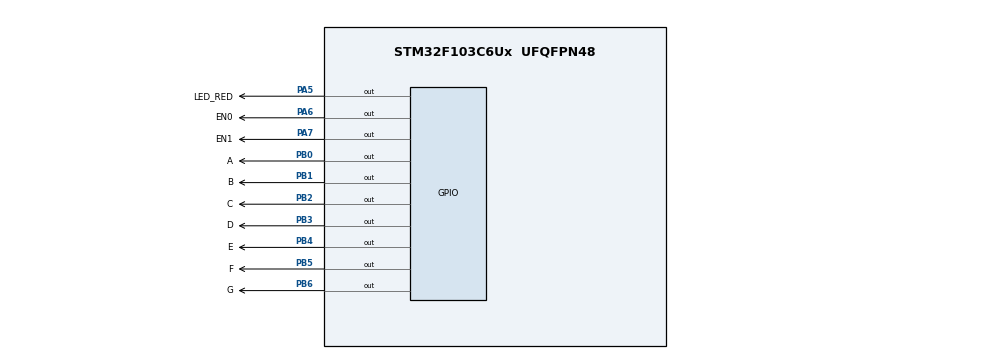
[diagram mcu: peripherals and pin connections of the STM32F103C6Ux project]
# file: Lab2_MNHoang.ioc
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Mcu.Family=STM32F1
Mcu.Name=STM32F103C6Ux
Mcu.Package=UFQFPN48
NVIC.PriorityGroup=NVIC_PRIORITYGROUP_4
NVIC.TIM2_IRQn=true\:0\:0\:false\:false\:true\:true\:true\:true
PA5.GPIO_Label=LED_RED
PA5.Signal=GPIO_Output
PA6.GPIO_Label=EN0
PA6.Signal=GPIO_Output
PA7.GPIO_Label=EN1
PA7.Signal=GPIO_Output
PB0.GPIO_Label=A
PB0.Signal=GPIO_Output
PB1.GPIO_Label=B
PB1.Signal=GPIO_Output
PB2.GPIO_Label=C
PB2.Signal=GPIO_Output
PB3.GPIO_Label=D
PB3.Signal=GPIO_Output
PB4.GPIO_Label=E
PB4.Signal=GPIO_Output
PB5.GPIO_Label=F
PB5.Signal=GPIO_Output
PB6.GPIO_Label=G
PB6.Signal=GPIO_Output
ProjectManager.HeapSize=0x200
ProjectManager.StackSize=0x400
ProjectManager.TargetToolchain=STM32CubeIDE
RCC.APB1Freq_Value=8000000
RCC.APB2Freq_Value=8000000
TIM2.Period=9
TIM2.Prescaler=7999
VP_SYS_VS_ND.Mode=No_Debug
VP_TIM2_VS_ClockSourceINT.Mode=Internal
board=custom

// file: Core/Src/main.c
/* USER CODE BEGIN Header */
/* USER CODE END Header */
#include "main.h"

TIM_HandleTypeDef htim2;

/* USER CODE BEGIN PV */
const int MAX_LED = 4;
int index_led = 0;
int led_buffer[4] = {1, 2, 3, 4}; // LED Status

int flag = 1;
int counter = 0;
int quaterSecondCounter = 0;

int hour = 15, minute = 8, second = 50;

/* USER CODE END PV */

void SystemClock_Config(void);
static void MX_GPIO_Init(void);
static void MX_TIM2_Init(void);
/* USER CODE BEGIN PFP */

void display7SEG(int displayNumber);
void update7SEG(int index);
void updateClockBuffer();
/* USER CODE END PFP */

int main(void)
{

  /* MCU Configuration--------------------------------------------------------*/

  /* Reset of all peripherals, Initializes the Flash interface and the Systick. */
  HAL_Init();

  /* Configure the system clock */
  SystemClock_Config();

  /* Initialize all configured peripherals */
  MX_GPIO_Init();
  MX_TIM2_Init();
  /* USER CODE BEGIN 2 */
  HAL_TIM_Base_Start_IT(&htim2);
  /* USER CODE END 2 */

  /* Infinite loop */
  /* USER CODE BEGIN WHILE */
  // Initialize 7-segment display & timer
  while (1)
  {
    second++;
    if (second >= 60)
    {
      second = 0;
      minute++;
    }
    if (minute >= 60)
    {
      minute = 0;
      hour++;
    }
    if (hour >= 24)
    {
      hour = 0;
    }
    updateClockBuffer();
    HAL_Delay(1000);
  }
}
/* USER CODE END WHILE */

/* USER CODE BEGIN 3 */
void display7SEG(int displayNumber)
{
  switch (displayNumber)
  {
  case 1:
    HAL_GPIO_WritePin(GPIOB, B_Pin | C_Pin, GPIO_PIN_RESET);
    HAL_GPIO_WritePin(GPIOB, A_Pin | D_Pin | E_Pin | F_Pin | G_Pin, GPIO_PIN_SET);
    break;
  case 2:
    HAL_GPIO_WritePin(GPIOB, A_Pin | B_Pin | G_Pin | E_Pin | D_Pin, GPIO_PIN_RESET);
    HAL_GPIO_WritePin(GPIOB, C_Pin | F_Pin, GPIO_PIN_SET);
    break;
  case 3:
    HAL_GPIO_WritePin(GPIOB, A_Pin | B_Pin | G_Pin | C_Pin | D_Pin, GPIO_PIN_RESET);
    HAL_GPIO_WritePin(GPIOB, E_Pin | F_Pin, GPIO_PIN_SET);
    break;
  case 4:
    HAL_GPIO_WritePin(GPIOB, F_Pin | G_Pin | B_Pin | C_Pin, GPIO_PIN_RESET);
    HAL_GPIO_WritePin(GPIOB, A_Pin | D_Pin | E_Pin, GPIO_PIN_SET);
    break;
  case 5:
    HAL_GPIO_WritePin(GPIOB, A_Pin | F_Pin | G_Pin | C_Pin | D_Pin, GPIO_PIN_RESET);
    HAL_GPIO_WritePin(GPIOB, B_Pin | E_Pin, GPIO_PIN_SET);
    break;
  case 6:
    HAL_GPIO_WritePin(GPIOB, A_Pin | F_Pin | G_Pin | C_Pin | D_Pin | E_Pin, GPIO_PIN_RESET);
    HAL_GPIO_WritePin(GPIOB, B_Pin, GPIO_PIN_SET);
    break;
  case 7:
    HAL_GPIO_WritePin(GPIOB, A_Pin | B_Pin | C_Pin, GPIO_PIN_RESET);
    HAL_GPIO_WritePin(GPIOB, D_Pin | E_Pin | F_Pin | G_Pin, GPIO_PIN_SET);
    break;
  case 8:
    HAL_GPIO_WritePin(GPIOB, A_Pin | B_Pin | C_Pin | D_Pin | E_Pin | F_Pin | G_Pin, GPIO_PIN_RESET);
    break;
  case 9:
    HAL_GPIO_WritePin(GPIOB, A_Pin | B_Pin | C_Pin | D_Pin | F_Pin | G_Pin, GPIO_PIN_RESET);
    HAL_GPIO_WritePin(GPIOB, E_Pin, GPIO_PIN_SET);
    break;
  case 0:
    HAL_GPIO_WritePin(GPIOB, A_Pin | B_Pin | C_Pin | D_Pin | E_Pin | F_Pin, GPIO_PIN_RESET);
    HAL_GPIO_WritePin(GPIOB, G_Pin, GPIO_PIN_SET);
    break;

  default:
    break;
  }
  return;
}
void update7SEG(int index)
{
  if (index >= MAX_LED)
  {
    index = 0;
  }
  switch (index)
  {
  case 0:
    HAL_GPIO_WritePin(GPIOA, EN0_Pin, GPIO_PIN_RESET);
    HAL_GPIO_WritePin(GPIOA, EN2_Pin | EN3_Pin | EN1_Pin, GPIO_PIN_SET);
    display7SEG(led_buffer[0]);
    break;
  case 1:
    HAL_GPIO_WritePin(GPIOA, EN1_Pin, GPIO_PIN_RESET);
    HAL_GPIO_WritePin(GPIOA, EN0_Pin | EN2_Pin | EN3_Pin, GPIO_PIN_SET);
    display7SEG(led_buffer[1]);
    break;
  case 2:
    HAL_GPIO_WritePin(GPIOA, EN2_Pin, GPIO_PIN_RESET);
    HAL_GPIO_WritePin(GPIOA, EN0_Pin | EN1_Pin | EN3_Pin, GPIO_PIN_SET);
    display7SEG(led_buffer[2]);
    break;
  case 3:
    HAL_GPIO_WritePin(GPIOA, EN3_Pin, GPIO_PIN_RESET);
    HAL_GPIO_WritePin(GPIOA, EN2_Pin | EN0_Pin | EN1_Pin, GPIO_PIN_SET);
    display7SEG(led_buffer[3]);
    break;
  default:
    break;
  }
}
void updateClockBuffer()
{
  led_buffer[0] = hour / 10;
  led_buffer[1] = hour % 10;
  led_buffer[2] = minute / 10;
  led_buffer[3] = minute % 10;
}
/* USER CODE END 3 */

void SystemClock_Config(void)
{
  RCC_OscInitTypeDef RCC_OscInitStruct = {0};
  RCC_ClkInitTypeDef RCC_ClkInitStruct = {0};

  /** Initializes the RCC Oscillators according to the specified parameters
   * in the RCC_OscInitTypeDef structure.
   */
  RCC_OscInitStruct.OscillatorType = RCC_OSCILLATORTYPE_HSI;
  RCC_OscInitStruct.HSIState = RCC_HSI_ON;
  RCC_OscInitStruct.HSICalibrationValue = RCC_HSICALIBRATION_DEFAULT;
  RCC_OscInitStruct.PLL.PLLState = RCC_PLL_NONE;
  if (HAL_RCC_OscConfig(&RCC_OscInitStruct) != HAL_OK)
  {
    Error_Handler();
  }

  /** Initializes the CPU, AHB and APB buses clocks
   */
  RCC_ClkInitStruct.ClockType = RCC_CLOCKTYPE_HCLK | RCC_CLOCKTYPE_SYSCLK | RCC_CLOCKTYPE_PCLK1 | RCC_CLOCKTYPE_PCLK2;
  RCC_ClkInitStruct.SYSCLKSource = RCC_SYSCLKSOURCE_HSI;
  RCC_ClkInitStruct.AHBCLKDivider = RCC_SYSCLK_DIV1;
  RCC_ClkInitStruct.APB1CLKDivider = RCC_HCLK_DIV1;
  RCC_ClkInitStruct.APB2CLKDivider = RCC_HCLK_DIV1;

  if (HAL_RCC_ClockConfig(&RCC_ClkInitStruct, FLASH_LATENCY_0) != HAL_OK)
  {
    Error_Handler();
  }
}

static void MX_TIM2_Init(void)
{

  TIM_ClockConfigTypeDef sClockSourceConfig = {0};
  TIM_MasterConfigTypeDef sMasterConfig = {0};

  htim2.Instance = TIM2;
  htim2.Init.Prescaler = 7999;
  htim2.Init.CounterMode = TIM_COUNTERMODE_UP;
  htim2.Init.Period = 9;
  htim2.Init.ClockDivision = TIM_CLOCKDIVISION_DIV1;
  htim2.Init.AutoReloadPreload = TIM_AUTORELOAD_PRELOAD_DISABLE;
  if (HAL_TIM_Base_Init(&htim2) != HAL_OK)
  {
    Error_Handler();
  }
  sClockSourceConfig.ClockSource = TIM_CLOCKSOURCE_INTERNAL;
  if (HAL_TIM_ConfigClockSource(&htim2, &sClockSourceConfig) != HAL_OK)
  {
    Error_Handler();
  }
  sMasterConfig.MasterOutputTrigger = TIM_TRGO_RESET;
  sMasterConfig.MasterSlaveMode = TIM_MASTERSLAVEMODE_DISABLE;
  if (HAL_TIMEx_MasterConfigSynchronization(&htim2, &sMasterConfig) != HAL_OK)
  {
    Error_Handler();
  }
}

static void MX_GPIO_Init(void)
{
  GPIO_InitTypeDef GPIO_InitStruct = {0};

  /* GPIO Ports Clock Enable */
  __HAL_RCC_GPIOA_CLK_ENABLE();
  __HAL_RCC_GPIOB_CLK_ENABLE();

  /*Configure GPIO pin Output Level */
  HAL_GPIO_WritePin(GPIOA, DOT_Pin | LED_RED_Pin | EN0_Pin | EN1_Pin | EN2_Pin | EN3_Pin, GPIO_PIN_RESET);

  /*Configure GPIO pin Output Level */
  HAL_GPIO_WritePin(GPIOB, A_Pin | B_Pin | C_Pin | D_Pin | E_Pin | F_Pin | G_Pin, GPIO_PIN_RESET);

  /*Configure GPIO pins : DOT_Pin LED_RED_Pin EN0_Pin EN1_Pin
                           EN2_Pin EN3_Pin */
  GPIO_InitStruct.Pin = DOT_Pin | LED_RED_Pin | EN0_Pin | EN1_Pin | EN2_Pin | EN3_Pin;
  GPIO_InitStruct.Mode = GPIO_MODE_OUTPUT_PP;
  GPIO_InitStruct.Pull = GPIO_NOPULL;
  GPIO_InitStruct.Speed = GPIO_SPEED_FREQ_LOW;
  HAL_GPIO_Init(GPIOA, &GPIO_InitStruct);

  /*Configure GPIO pins : A_Pin B_Pin C_Pin D_Pin
                           E_Pin F_Pin G_Pin */
  GPIO_InitStruct.Pin = A_Pin | B_Pin | C_Pin | D_Pin | E_Pin | F_Pin | G_Pin;
  GPIO_InitStruct.Mode = GPIO_MODE_OUTPUT_PP;
  GPIO_InitStruct.Pull = GPIO_NOPULL;
  GPIO_InitStruct.Speed = GPIO_SPEED_FREQ_LOW;
  HAL_GPIO_Init(GPIOB, &GPIO_InitStruct);

}

/* USER CODE BEGIN 4 */
/* USER CODE BEGIN 4 */
void HAL_TIM_PeriodElapsedCallback(TIM_HandleTypeDef *htim)
{
  counter++;
  if (counter >= 25)
  {
    counter = 0;
    flag++;
    if (flag > 4)
    {
      flag = 1;
    }
    quaterSecondCounter++;

    update7SEG(index_led++);

    if (index_led >= MAX_LED)
    {
      index_led = 0;
    }
  }
  if (quaterSecondCounter >= 4)
  {
    HAL_GPIO_TogglePin(GPIOA, DOT_Pin);
    HAL_GPIO_TogglePin(GPIOA, LED_RED_Pin);

    quaterSecondCounter = 0;
  }
}

/* USER CODE END 4 */

void Error_Handler(void)
{
}
